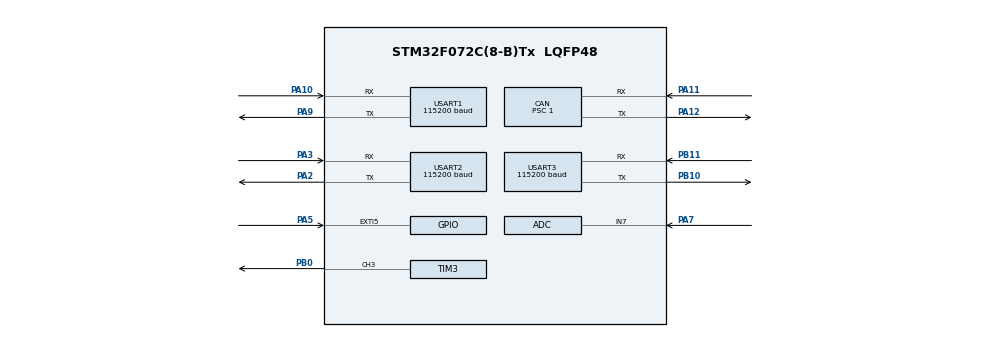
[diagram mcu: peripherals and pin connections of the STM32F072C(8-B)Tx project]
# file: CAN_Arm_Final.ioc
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CAN.BS1=CAN_BS1_13TQ
CAN.BS2=CAN_BS2_2TQ
CAN.CalculateBaudRate=500000
CAN.CalculateTimeBit=2000
CAN.CalculateTimeQuantum=125.0
CAN.Prescaler=1
Dma.Request0=USART1_TX
Dma.Request1=USART1_RX
Dma.Request2=USART2_RX
Dma.Request3=USART2_TX
Dma.Request4=USART3_TX
Dma.Request5=USART3_RX
Dma.USART1_RX.1.Direction=DMA_PERIPH_TO_MEMORY
Dma.USART1_RX.1.Instance=DMA1_Channel3
Dma.USART1_RX.1.MemDataAlignment=DMA_MDATAALIGN_BYTE
Dma.USART1_RX.1.MemInc=DMA_MINC_ENABLE
Dma.USART1_RX.1.Mode=DMA_NORMAL
Dma.USART1_RX.1.PeriphDataAlignment=DMA_PDATAALIGN_BYTE
Dma.USART1_RX.1.PeriphInc=DMA_PINC_DISABLE
Dma.USART1_RX.1.Priority=DMA_PRIORITY_LOW
Dma.USART1_TX.0.Direction=DMA_MEMORY_TO_PERIPH
Dma.USART1_TX.0.Instance=DMA1_Channel2
Dma.USART1_TX.0.MemDataAlignment=DMA_MDATAALIGN_BYTE
Dma.USART1_TX.0.MemInc=DMA_MINC_ENABLE
Dma.USART1_TX.0.Mode=DMA_NORMAL
Dma.USART1_TX.0.PeriphDataAlignment=DMA_PDATAALIGN_BYTE
Dma.USART1_TX.0.PeriphInc=DMA_PINC_DISABLE
Dma.USART1_TX.0.Priority=DMA_PRIORITY_LOW
Dma.USART2_RX.2.Direction=DMA_PERIPH_TO_MEMORY
Dma.USART2_RX.2.Instance=DMA1_Channel5
Dma.USART2_RX.2.MemDataAlignment=DMA_MDATAALIGN_BYTE
Dma.USART2_RX.2.MemInc=DMA_MINC_ENABLE
Dma.USART2_RX.2.Mode=DMA_NORMAL
Dma.USART2_RX.2.PeriphDataAlignment=DMA_PDATAALIGN_BYTE
Dma.USART2_RX.2.PeriphInc=DMA_PINC_DISABLE
Dma.USART2_RX.2.Priority=DMA_PRIORITY_LOW
Dma.USART2_TX.3.Direction=DMA_MEMORY_TO_PERIPH
Dma.USART2_TX.3.Instance=DMA1_Channel4
Dma.USART2_TX.3.MemDataAlignment=DMA_MDATAALIGN_BYTE
Dma.USART2_TX.3.MemInc=DMA_MINC_ENABLE
Dma.USART2_TX.3.Mode=DMA_NORMAL
Dma.USART2_TX.3.PeriphDataAlignment=DMA_PDATAALIGN_BYTE
Dma.USART2_TX.3.PeriphInc=DMA_PINC_DISABLE
Dma.USART2_TX.3.Priority=DMA_PRIORITY_LOW
Dma.USART3_RX.5.Direction=DMA_PERIPH_TO_MEMORY
Dma.USART3_RX.5.Instance=DMA1_Channel6
Dma.USART3_RX.5.MemDataAlignment=DMA_MDATAALIGN_BYTE
Dma.USART3_RX.5.MemInc=DMA_MINC_ENABLE
Dma.USART3_RX.5.Mode=DMA_NORMAL
Dma.USART3_RX.5.PeriphDataAlignment=DMA_PDATAALIGN_BYTE
Dma.USART3_RX.5.PeriphInc=DMA_PINC_DISABLE
Dma.USART3_RX.5.Priority=DMA_PRIORITY_LOW
Dma.USART3_TX.4.Direction=DMA_MEMORY_TO_PERIPH
Dma.USART3_TX.4.Instance=DMA1_Channel7
Dma.USART3_TX.4.MemDataAlignment=DMA_MDATAALIGN_BYTE
Dma.USART3_TX.4.MemInc=DMA_MINC_ENABLE
Dma.USART3_TX.4.Mode=DMA_NORMAL
Dma.USART3_TX.4.PeriphDataAlignment=DMA_PDATAALIGN_BYTE
Dma.USART3_TX.4.PeriphInc=DMA_PINC_DISABLE
Dma.USART3_TX.4.Priority=DMA_PRIORITY_LOW
Mcu.Family=STM32F0
Mcu.Name=STM32F072C(8-B)Tx
Mcu.Package=LQFP48
NVIC.CEC_CAN_IRQn=true\:0\:0\:false\:false\:true\:true\:true\:true
NVIC.DMA1_Channel2_3_IRQn=true\:0\:0\:false\:false\:true\:false\:true\:true
NVIC.DMA1_Channel4_5_6_7_IRQn=true\:0\:0\:false\:false\:true\:false\:true\:true
NVIC.USART1_IRQn=true\:0\:0\:false\:false\:true\:true\:true\:true
NVIC.USART2_IRQn=true\:0\:0\:false\:false\:true\:true\:true\:true
NVIC.USART3_4_IRQn=true\:0\:0\:false\:false\:true\:true\:true\:true
PA10.Mode=Asynchronous
PA10.Signal=USART1_RX
PA11.Mode=CAN_Activate
PA11.Signal=CAN_RX
PA12.Mode=CAN_Activate
PA12.Signal=CAN_TX
PA13.Mode=Serial_Wire
PA13.Signal=SYS_SWDIO
PA14.Mode=Serial_Wire
PA14.Signal=SYS_SWCLK
PA2.Mode=Asynchronous
PA2.Signal=USART2_TX
PA3.Mode=Asynchronous
PA3.Signal=USART2_RX
PA5.GPIO_ModeDefaultEXTI=GPIO_MODE_IT_FALLING
PA5.GPIO_PuPd=GPIO_PULLUP
PA5.Signal=GPXTI5
PA7.Mode=IN7
PA7.Signal=ADC_IN7
PA9.Mode=Asynchronous
PA9.Signal=USART1_TX
PB0.Signal=S_TIM3_CH3
PB10.Mode=Asynchronous
PB10.Signal=USART3_TX
PB11.Mode=Asynchronous
PB11.Signal=USART3_RX
PF0-OSC_IN.Mode=HSE-External-Oscillator
PF0-OSC_IN.Signal=RCC_OSC_IN
PF1-OSC_OUT.Mode=HSE-External-Oscillator
PF1-OSC_OUT.Signal=RCC_OSC_OUT
ProjectManager.HeapSize=0x200
ProjectManager.StackSize=0x400
ProjectManager.TargetToolchain=STM32CubeIDE
SH.S_TIM3_CH3.0=TIM3_CH3,PWM Generation3 CH3
TIM3.Channel-PWM\ Generation3\ CH3=TIM_CHANNEL_3
TIM3.Period=9999
TIM3.Prescaler=15
USART1.BaudRate=115200
USART1.VirtualMode-Asynchronous=VM_ASYNC
USART2.BaudRate=115200
USART2.VirtualMode-Asynchronous=VM_ASYNC
USART3.BaudRate=115200
USART3.VirtualMode-Asynchronous=VM_ASYNC
board=custom

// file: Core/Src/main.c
/* USER CODE BEGIN Header */
/**
 ******************************************************************************
 * @file           : main.c
 * @brief          : Main program body
 ******************************************************************************
 * @attention
 *
 * Copyright (c) 2025 STMicroelectronics.
 * All rights reserved.
 *
 * This software is licensed under terms that can be found in the LICENSE file
 * in the root directory of this software component.
 * If no LICENSE file comes with this software, it is provided AS-IS.
 *
 ******************************************************************************
 */
/* USER CODE END Header */
#include "main.h"

/* USER CODE BEGIN Includes */
#include "../../roboclaw/roboclaw.h"
//#include "../../pH/pH.h"
#include "string.h"
#include <stdbool.h>
#include <stdio.h>
#include <stdlib.h>
#include <math.h>
/* USER CODE END Includes */

/* USER CODE BEGIN PTD */
volatile uint8_t messageReceived = 0;
CAN_RxHeaderTypeDef rxHeader;
uint8_t rxData[8];

SERIAL_HandleTypeDef *hserial_uart1;
SERIAL_HandleTypeDef *hserial_uart2;
SERIAL_HandleTypeDef *hserial_uart3;
RoboClaw_HandleTypeDef hroboclaw_mc1;
RoboClaw_HandleTypeDef hroboclaw_mc2;
RoboClaw_HandleTypeDef hroboclaw_mc3;
/* USER CODE END PTD */

/* USER CODE BEGIN PD */
#define gear_ratio 188 // change value
#define pulses_per_revolution_gearbox 28 // change value
#define reduction_ratio 188 // change value
#define pi 3.14159265358979
#define angles_id 0x004
#define CAN_ID_ENCODER_FEEDBACK 0x005

/* USER CODE END PD */

/* USER CODE BEGIN PM */
uint32_t accel = 1000;
uint32_t speed = 2000;
uint32_t deccel = 1000;
volatile uint32_t position[5] = { 0, 0, 0, 0, 0 };
uint8_t input_min = 0;
uint8_t input_max = 255;
int32_t output_min = 0;
int32_t output_max = 5290;
int32_t encoder;
uint8_t flag = 0;
uint16_t angle_degree = 0;
uint8_t m1_speed_buffer[2];
uint32_t debug_buff[100];
uint8_t SendMotorRPMs[6];

uint64_t packed = 0;
uint16_t joint[6];
float angle_deg[6];
uint8_t storage1=0,storage2=0;
/* USER CODE END PM */

ADC_HandleTypeDef hadc;

CAN_HandleTypeDef hcan;

TIM_HandleTypeDef htim3;

UART_HandleTypeDef huart1;
UART_HandleTypeDef huart2;
UART_HandleTypeDef huart3;
DMA_HandleTypeDef hdma_usart1_tx;
DMA_HandleTypeDef hdma_usart1_rx;
DMA_HandleTypeDef hdma_usart2_rx;
DMA_HandleTypeDef hdma_usart2_tx;
DMA_HandleTypeDef hdma_usart3_tx;
DMA_HandleTypeDef hdma_usart3_rx;

/* USER CODE BEGIN PV */

volatile bool g_limitSwitchPressed = false; // A global flag

/* USER CODE END PV */

void SystemClock_Config(void);
static void MX_GPIO_Init(void);
static void MX_DMA_Init(void);
static void MX_CAN_Init(void);
static void MX_USART1_UART_Init(void);
static void MX_USART2_UART_Init(void);
static void MX_USART3_UART_Init(void);
static void MX_ADC_Init(void);
static void MX_TIM3_Init(void);
/* USER CODE BEGIN PFP */
void can_irq(CAN_HandleTypeDef *pcan);
HAL_StatusTypeDef can_send(uint32_t id, uint8_t data[], uint8_t length);

/* this function used to map the recieved message from jetson in form of 0:255 to 0:11000 to be suitable for the roboclaw input*/
uint32_t map_value(uint8_t value, uint8_t input_min, uint8_t input_max,
		int32_t output_min, int32_t output_max);

int32_t GoToAngle(float angle, RoboClaw_HandleTypeDef *hroboClaw);

void processArmControlData(uint8_t *data);

void setServoAngle(TIM_HandleTypeDef* htim, uint32_t channel, uint16_t angle);
uint16_t angleToPulseValue(uint16_t angle);

void SendEncoderFeedback(void);

/* USER CODE END PFP */

/* USER CODE BEGIN 0 */
void can_irq(CAN_HandleTypeDef *pcan) {
	/* Simply receive whatever message comes in */
	if (HAL_CAN_GetRxMessage(pcan, CAN_RX_FIFO0, &rxHeader, rxData) == HAL_OK) {
		messageReceived = 1;
		// Check if the message is for Arm Control
//		if (rxHeader.StdId == angles_id) {
//			messageReceived = 1;
//		}
	}
}

HAL_StatusTypeDef can_send(uint32_t id, uint8_t data[], uint8_t length) {
	CAN_TxHeaderTypeDef txHeader;
	uint32_t mailbox;

	/* Configure TX header */
	txHeader.StdId = id;
	txHeader.IDE = CAN_ID_STD;
	txHeader.RTR = CAN_RTR_DATA;
	txHeader.DLC = length;
	txHeader.TransmitGlobalTime = DISABLE;

	/* Check if mailbox is available and send */
	if (HAL_CAN_GetTxMailboxesFreeLevel(&hcan) > 0) {
		return HAL_CAN_AddTxMessage(&hcan, &txHeader, data, &mailbox);
	}
	return HAL_BUSY;
}

/* this function used to map the recieved message from jetson in form of 0:255 to 0:11000 to be suitable for the roboclaw input*/
uint32_t map_value(uint8_t value, uint8_t input_min, uint8_t input_max,
		int32_t output_min, int32_t output_max) {

	// Normalize the input value
	uint32_t normalized_value = (float) (value - input_min)
			/ (input_max - input_min);

	// Map the normalized value to the output range
	uint32_t mapped_value = normalized_value * (output_max - output_min)
			+ output_min;

	return mapped_value;
}

int32_t GoToAngle(float angle, RoboClaw_HandleTypeDef *hroboClaw) {
	uint8_t status;
	bool valid;

	encoder = ReadEncM2(hroboClaw, &status, &valid);
	float no_of_ticks = (angle / 360) * output_max;
	SpeedAccelDeccelPositionM2(hroboClaw, accel, speed, deccel, no_of_ticks,
			flag);

	return ReadEncM2(hroboClaw, &status, &valid);
}

void processArmControlData(uint8_t *data) {
	packed = 0;
	// Combine all 8 bytes into a 64-bit integer

	for (int i = 0; i < 8; i++) {
		packed |= ((uint64_t) data[i]) << (8 * i);
	}

	// Extract each 10-bit joint value
	for (int j = 0; j < 6; j++) {
		joint[j] = (packed >> (j * 10)) & 0x3FF; // 0x3FF = 10-bit mask
		// Now you have joint[0]..joint[5] as raw values (0–1023)
		angle_deg[j] = ((float) joint[j] / 1023.0f) * 360.0f; // Example: map to 0–360°
	}
	storage1 = (packed >> 61) & 0x1 ;
	storage2 = (packed >> 62) & 0x1 ;
	GoToAngle(angle_deg[0],&hroboclaw_mc2);

	return;
}

void SendEncoderFeedback(void) {
//    uint8_t status;
//    bool valid;
//    uint8_t feedback_data[8];

    // Read encoder values
//    int32_t enc0 = ReadEncM1(&hroboclaw_mc2, &status, &valid);//in ticks
//    uint16_t actual_angle0 = ((enc0)/output_max)*360;// in degrees
//    int32_t enc1 = ReadEncM2(&hroboclaw_mc2, &status, &valid);
//    int32_t enc2 = ReadEncM1(&hroboclaw_mc2, &status, &valid);
//    int32_t enc3 = ReadEncM1(&hroboclaw_mc2, &status, &valid);
//    int32_t enc4 = ReadEncM1(&hroboclaw_mc2, &status, &valid);
//    int32_t enc5 = ReadEncM1(&hroboclaw_mc2, &status, &valid);

    // For this example, we'll just pack the first 4.
    // The CAN standard frame only has 8 bytes. You may need multiple CAN messages
    // to send all 6 encoder values if you need full 32-bit resolution.
    // Here, we'll send them as 16-bit values to fit.
//    feedback_data[0] = (enc0 >> 8) & 0xFF; // Joint 0 MSB
//    feedback_data[1] = enc0 & 0xFF;        // Joint 0 LSB
//    feedback_data[2] = (enc1 >> 8) & 0xFF; // Joint 1 MSB
//    feedback_data[3] = enc1 & 0xFF;        // Joint 1 LSB
//    feedback_data[4] = (enc2 >> 8) & 0xFF; // Joint 2 MSB
//    feedback_data[5] = enc2 & 0xFF;        // Joint 2 LSB

//    can_send(CAN_ID_ENCODER_FEEDBACK, feedback_data, 8);
}

/**
 * @brief  Maps a desired angle (0-180) to the corresponding PWM pulse count.
 * @param  angle The desired angle in degrees (0 to 180).
 * @retval The calculated pulse value for the timer's compare register.
 */
uint16_t angleToPulseValue(uint16_t angle)
{
    // Clamp the angle to ensure it stays within 0-180 degrees
    if (angle > 180) {
        angle = 180;
    }

    // These values are correct for a 50Hz PWM with a Period of 9999 (10000 total counts)
    // which corresponds to a 20ms period.
    // 0.5ms pulse (0 deg)  -> (0.5ms / 20ms) * 10000 = 250
    // 2.5ms pulse (180 deg) -> (2.5ms / 20ms) * 10000 = 1250
    const uint16_t MIN_PULSE_COUNTS = 250;
    const uint16_t MAX_PULSE_COUNTS = 1250;
    const uint16_t PULSE_RANGE_COUNTS = MAX_PULSE_COUNTS - MIN_PULSE_COUNTS; // 1000 counts

    // Linear mapping formula:
    // pulse_counts = MIN_PULSE_COUNTS + (angle * PULSE_RANGE_COUNTS) / 180
    uint16_t pulse = MIN_PULSE_COUNTS + ((uint32_t)angle * PULSE_RANGE_COUNTS) / 180;

    return pulse;
}

/**
 * @brief  Sets the servo to a specific angle by updating the PWM compare register.
 * @param  htim A pointer to the TIM_HandleTypeDef structure for your timer.
 * @param  channel The timer channel used for the servo (e.g., TIM_CHANNEL_2).
 * @param  angle The desired servo angle in degrees (0 to 180).
 */
void setServoAngle(TIM_HandleTypeDef* htim, uint32_t channel, uint16_t angle)
{
    uint16_t pulse = angleToPulseValue(angle);

    // Update the Capture Compare Register (CCR) for the specified channel.
    __HAL_TIM_SET_COMPARE(htim, channel, pulse);
}

/* USER CODE END 0 */

int main(void)
{

  /* USER CODE BEGIN 1 */
		uint8_t txData[] = "FuckCAN"; // Example data to send
		uint32_t lastSendTime = 0;
  /* USER CODE END 1 */

  /* MCU Configuration--------------------------------------------------------*/

  /* Reset of all peripherals, Initializes the Flash interface and the Systick. */
  HAL_Init();

  /* Configure the system clock */
  SystemClock_Config();

  /* Initialize all configured peripherals */
  MX_GPIO_Init();
  MX_DMA_Init();
  MX_CAN_Init();
  MX_USART1_UART_Init();
  MX_USART2_UART_Init();
  MX_USART3_UART_Init();
  MX_ADC_Init();
  MX_TIM3_Init();
  /* USER CODE BEGIN 2 */
	// MOTOR 1&2 -> ROBOCLAW 1
	hserial_uart1 = serial_init(&huart1);
	hroboclaw_mc1.hserial = hserial_uart1;
	hroboclaw_mc1.packetserial_address = 0x80;

	////MOTOR 3&4 -> ROBOCLAW 2
	hserial_uart2 = serial_init(&huart2);
	hroboclaw_mc2.hserial = hserial_uart2;
	hroboclaw_mc2.packetserial_address = 0x80;
	//
	////MOTOR 5&6 -> ROBOCLAW 3
	hserial_uart3 = serial_init(&huart3);
	hroboclaw_mc3.hserial = hserial_uart3;
	hroboclaw_mc3.packetserial_address = 0x80;

	HAL_GPIO_WritePin(GPIOB, GPIO_PIN_15, GPIO_PIN_SET); // LED off
	//Homing position
	SpeedM1(&hroboclaw_mc2, 12000);	//Start
	//Motor rotates continuously until it hits the limit switch and triggers the interrupt

//  	// Start the PWM signal on TIM2 Channel 2
//    HAL_TIM_PWM_Start(&htim2, TIM_CHANNEL_3);
//
//	// Set initial position to center (90 degrees)
//	setServoAngle(&htim2, TIM_CHANNEL_3, 90);
//	HAL_Delay(1000); // Give servo time to reach initial position

  /* USER CODE END 2 */

  /* Infinite loop */
  /* USER CODE BEGIN WHILE */
	while (1) {
		uint8_t status;
		bool valid;

//		GoToAngle(180, &hroboclaw_mc2);
//		HAL_Delay(1000);
//		GoToAngle(90, &hroboclaw_mc2);
//		HAL_Delay(1000);
//		encoder = ReadEncM1(&hroboclaw_mc2, &status, &valid);
    /* USER CODE END WHILE */

    /* USER CODE BEGIN 3 */
		// CAN message from High level

		if (messageReceived) {
			HAL_GPIO_TogglePin(GPIOB, GPIO_PIN_15);
			messageReceived = 0;		// Clear flag
			processArmControlData(rxData);

		}

		/* Send message every 1000ms */

//		if (HAL_GetTick() - lastS
		/* If message received, toggle LED */

		HAL_Delay(500);
	}
  /* USER CODE END 3 */
}

void SystemClock_Config(void)
{
  RCC_OscInitTypeDef RCC_OscInitStruct = {0};
  RCC_ClkInitTypeDef RCC_ClkInitStruct = {0};
  RCC_PeriphCLKInitTypeDef PeriphClkInit = {0};

  /** Initializes the RCC Oscillators according to the specified parameters
  * in the RCC_OscInitTypeDef structure.
  */
  RCC_OscInitStruct.OscillatorType = RCC_OSCILLATORTYPE_HSI|RCC_OSCILLATORTYPE_HSI14;
  RCC_OscInitStruct.HSIState = RCC_HSI_ON;
  RCC_OscInitStruct.HSI14State = RCC_HSI14_ON;
  RCC_OscInitStruct.HSICalibrationValue = RCC_HSICALIBRATION_DEFAULT;
  RCC_OscInitStruct.HSI14CalibrationValue = 16;
  RCC_OscInitStruct.PLL.PLLState = RCC_PLL_NONE;
  if (HAL_RCC_OscConfig(&RCC_OscInitStruct) != HAL_OK)
  {
    Error_Handler();
  }

  /** Initializes the CPU, AHB and APB buses clocks
  */
  RCC_ClkInitStruct.ClockType = RCC_CLOCKTYPE_HCLK|RCC_CLOCKTYPE_SYSCLK
                              |RCC_CLOCKTYPE_PCLK1;
  RCC_ClkInitStruct.SYSCLKSource = RCC_SYSCLKSOURCE_HSI;
  RCC_ClkInitStruct.AHBCLKDivider = RCC_SYSCLK_DIV1;
  RCC_ClkInitStruct.APB1CLKDivider = RCC_HCLK_DIV1;

  if (HAL_RCC_ClockConfig(&RCC_ClkInitStruct, FLASH_LATENCY_0) != HAL_OK)
  {
    Error_Handler();
  }
  PeriphClkInit.PeriphClockSelection = RCC_PERIPHCLK_USART1|RCC_PERIPHCLK_USART2;
  PeriphClkInit.Usart1ClockSelection = RCC_USART1CLKSOURCE_PCLK1;
  PeriphClkInit.Usart2ClockSelection = RCC_USART2CLKSOURCE_PCLK1;
  if (HAL_RCCEx_PeriphCLKConfig(&PeriphClkInit) != HAL_OK)
  {
    Error_Handler();
  }
}

static void MX_ADC_Init(void)
{

  ADC_ChannelConfTypeDef sConfig = {0};

  /** Configure the global features of the ADC (Clock, Resolution, Data Alignment and number of conversion)
  */
  hadc.Instance = ADC1;
  hadc.Init.ClockPrescaler = ADC_CLOCK_ASYNC_DIV1;
  hadc.Init.Resolution = ADC_RESOLUTION_12B;
  hadc.Init.DataAlign = ADC_DATAALIGN_RIGHT;
  hadc.Init.ScanConvMode = ADC_SCAN_DIRECTION_FORWARD;
  hadc.Init.EOCSelection = ADC_EOC_SINGLE_CONV;
  hadc.Init.LowPowerAutoWait = DISABLE;
  hadc.Init.LowPowerAutoPowerOff = DISABLE;
  hadc.Init.ContinuousConvMode = DISABLE;
  hadc.Init.DiscontinuousConvMode = DISABLE;
  hadc.Init.ExternalTrigConv = ADC_SOFTWARE_START;
  hadc.Init.ExternalTrigConvEdge = ADC_EXTERNALTRIGCONVEDGE_NONE;
  hadc.Init.DMAContinuousRequests = DISABLE;
  hadc.Init.Overrun = ADC_OVR_DATA_PRESERVED;
  if (HAL_ADC_Init(&hadc) != HAL_OK)
  {
    Error_Handler();
  }

  /** Configure for the selected ADC regular channel to be converted.
  */
  sConfig.Channel = ADC_CHANNEL_7;
  sConfig.Rank = ADC_RANK_CHANNEL_NUMBER;
  sConfig.SamplingTime = ADC_SAMPLETIME_1CYCLE_5;
  if (HAL_ADC_ConfigChannel(&hadc, &sConfig) != HAL_OK)
  {
    Error_Handler();
  }

}

static void MX_CAN_Init(void)
{

  hcan.Instance = CAN;
  hcan.Init.Prescaler = 1;
  hcan.Init.Mode = CAN_MODE_NORMAL;
  hcan.Init.SyncJumpWidth = CAN_SJW_1TQ;
  hcan.Init.TimeSeg1 = CAN_BS1_13TQ;
  hcan.Init.TimeSeg2 = CAN_BS2_2TQ;
  hcan.Init.TimeTriggeredMode = DISABLE;
  hcan.Init.AutoBusOff = DISABLE;
  hcan.Init.AutoWakeUp = DISABLE;
  hcan.Init.AutoRetransmission = DISABLE;
  hcan.Init.ReceiveFifoLocked = DISABLE;
  hcan.Init.TransmitFifoPriority = DISABLE;
  if (HAL_CAN_Init(&hcan) != HAL_OK)
  {
    Error_Handler();
  }
  /* USER CODE BEGIN CAN_Init 2 */
	CAN_FilterTypeDef sf;
	sf.FilterMaskIdHigh = 0x0000;
	sf.FilterMaskIdLow = 0x0000;
	sf.FilterFIFOAssignment = CAN_FILTER_FIFO0;
	sf.FilterBank = 0;
	sf.FilterMode = CAN_FILTERMODE_IDMASK;
	sf.FilterScale = CAN_FILTERSCALE_32BIT;
	sf.FilterActivation = CAN_FILTER_ENABLE;
	if (HAL_CAN_ConfigFilter(&hcan, &sf) != HAL_OK) {
		Error_Handler();
	}

	if (HAL_CAN_RegisterCallback(&hcan, HAL_CAN_RX_FIFO0_MSG_PENDING_CB_ID,
			can_irq) != HAL_OK) {
		Error_Handler();
	}

	if (HAL_CAN_Start(&hcan) != HAL_OK) {
		Error_Handler();
	}

	if (HAL_CAN_ActivateNotification(&hcan, CAN_IT_RX_FIFO0_MSG_PENDING)
			!= HAL_OK) {
		Error_Handler();
	}

	/* Enable interrupts for CAN: FIFO0 message pending, transmit mailbox empty, error */
	__HAL_CAN_ENABLE_IT(&hcan, CAN_IT_RX_FIFO0_MSG_PENDING | // RX FIFO0 message
			CAN_IT_TX_MAILBOX_EMPTY |// Transmit mailbox empty
			CAN_IT_ERROR_WARNING |// Error warning
			CAN_IT_ERROR_PASSIVE |// Error passive
			CAN_IT_BUSOFF |// Bus-off
			CAN_IT_LAST_ERROR_CODE |// Last error code
			CAN_IT_ERROR);// General error

	/* Configure NVIC for CAN interrupts */
	HAL_NVIC_SetPriority(CEC_CAN_IRQn, 0, 0);
	HAL_NVIC_EnableIRQ(CEC_CAN_IRQn);
  /* USER CODE END CAN_Init 2 */

}

static void MX_TIM3_Init(void)
{

  TIM_MasterConfigTypeDef sMasterConfig = {0};
  TIM_OC_InitTypeDef sConfigOC = {0};

  htim3.Instance = TIM3;
  htim3.Init.Prescaler = 15;
  htim3.Init.CounterMode = TIM_COUNTERMODE_UP;
  htim3.Init.Period = 9999;
  htim3.Init.ClockDivision = TIM_CLOCKDIVISION_DIV1;
  htim3.Init.AutoReloadPreload = TIM_AUTORELOAD_PRELOAD_DISABLE;
  if (HAL_TIM_PWM_Init(&htim3) != HAL_OK)
  {
    Error_Handler();
  }
  sMasterConfig.MasterOutputTrigger = TIM_TRGO_RESET;
  sMasterConfig.MasterSlaveMode = TIM_MASTERSLAVEMODE_DISABLE;
  if (HAL_TIMEx_MasterConfigSynchronization(&htim3, &sMasterConfig) != HAL_OK)
  {
    Error_Handler();
  }
  sConfigOC.OCMode = TIM_OCMODE_PWM1;
  sConfigOC.Pulse = 0;
  sConfigOC.OCPolarity = TIM_OCPOLARITY_HIGH;
  sConfigOC.OCFastMode = TIM_OCFAST_DISABLE;
  if (HAL_TIM_PWM_ConfigChannel(&htim3, &sConfigOC, TIM_CHANNEL_3) != HAL_OK)
  {
    Error_Handler();
  }
  HAL_TIM_MspPostInit(&htim3);

}

static void MX_USART1_UART_Init(void)
{

  huart1.Instance = USART1;
  huart1.Init.BaudRate = 115200;
  huart1.Init.WordLength = UART_WORDLENGTH_8B;
  huart1.Init.StopBits = UART_STOPBITS_1;
  huart1.Init.Parity = UART_PARITY_NONE;
  huart1.Init.Mode = UART_MODE_TX_RX;
  huart1.Init.HwFlowCtl = UART_HWCONTROL_NONE;
  huart1.Init.OverSampling = UART_OVERSAMPLING_16;
  huart1.Init.OneBitSampling = UART_ONE_BIT_SAMPLE_DISABLE;
  huart1.AdvancedInit.AdvFeatureInit = UART_ADVFEATURE_NO_INIT;
  if (HAL_UART_Init(&huart1) != HAL_OK)
  {
    Error_Handler();
  }

}

static void MX_USART2_UART_Init(void)
{

  huart2.Instance = USART2;
  huart2.Init.BaudRate = 115200;
  huart2.Init.WordLength = UART_WORDLENGTH_8B;
  huart2.Init.StopBits = UART_STOPBITS_1;
  huart2.Init.Parity = UART_PARITY_NONE;
  huart2.Init.Mode = UART_MODE_TX_RX;
  huart2.Init.HwFlowCtl = UART_HWCONTROL_NONE;
  huart2.Init.OverSampling = UART_OVERSAMPLING_16;
  huart2.Init.OneBitSampling = UART_ONE_BIT_SAMPLE_DISABLE;
  huart2.AdvancedInit.AdvFeatureInit = UART_ADVFEATURE_NO_INIT;
  if (HAL_UART_Init(&huart2) != HAL_OK)
  {
    Error_Handler();
  }

}

static void MX_USART3_UART_Init(void)
{

  huart3.Instance = USART3;
  huart3.Init.BaudRate = 115200;
  huart3.Init.WordLength = UART_WORDLENGTH_8B;
  huart3.Init.StopBits = UART_STOPBITS_1;
  huart3.Init.Parity = UART_PARITY_NONE;
  huart3.Init.Mode = UART_MODE_TX_RX;
  huart3.Init.HwFlowCtl = UART_HWCONTROL_NONE;
  huart3.Init.OverSampling = UART_OVERSAMPLING_16;
  huart3.Init.OneBitSampling = UART_ONE_BIT_SAMPLE_DISABLE;
  huart3.AdvancedInit.AdvFeatureInit = UART_ADVFEATURE_NO_INIT;
  if (HAL_UART_Init(&huart3) != HAL_OK)
  {
    Error_Handler();
  }

}

static void MX_DMA_Init(void)
{

  /* DMA controller clock enable */
  __HAL_RCC_DMA1_CLK_ENABLE();

  /* DMA interrupt init */
  /* DMA1_Channel2_3_IRQn interrupt configuration */
  HAL_NVIC_SetPriority(DMA1_Channel2_3_IRQn, 0, 0);
  HAL_NVIC_EnableIRQ(DMA1_Channel2_3_IRQn);
  /* DMA1_Channel4_5_6_7_IRQn interrupt configuration */
  HAL_NVIC_SetPriority(DMA1_Channel4_5_6_7_IRQn, 0, 0);
  HAL_NVIC_EnableIRQ(DMA1_Channel4_5_6_7_IRQn);

}

static void MX_GPIO_Init(void)
{
  GPIO_InitTypeDef GPIO_InitStruct = {0};

  /* GPIO Ports Clock Enable */
  __HAL_RCC_GPIOF_CLK_ENABLE();
  __HAL_RCC_GPIOA_CLK_ENABLE();
  __HAL_RCC_GPIOB_CLK_ENABLE();

  /*Configure GPIO pin : PA5 */
  GPIO_InitStruct.Pin = GPIO_PIN_5;
  GPIO_InitStruct.Mode = GPIO_MODE_IT_FALLING;
  GPIO_InitStruct.Pull = GPIO_PULLUP;
  HAL_GPIO_Init(GPIOA, &GPIO_InitStruct);

}

/* USER CODE BEGIN 4 */

void HAL_GPIO_EXTI_Callback(uint16_t GPIO_Pin) {
	if (GPIO_Pin == GPIO_PIN_5) {
		// The limit switch interrupt was triggered!
		// Set a flag. Keep the ISR (Interrupt Service Routine) short and fast.
		g_limitSwitchPressed = true;
	}
}

void HomingSequence_IT(RoboClaw_HandleTypeDef *hroboClaw) {
	uint8_t status;
	bool valid;
	// Reset the flag and start moving towards the switch
	g_limitSwitchPressed = false;
//    ForwardM1(hroboClaw, 20); // Adjust direction/speed as needed
	HAL_GPIO_TogglePin(GPIOB, GPIO_PIN_15);

	// Wait for the flag to be set by the interrupt
	while (!g_limitSwitchPressed) {
		HAL_Delay(5);
	}

	// --- Switch has been triggered! ---
	ForwardM2(hroboClaw, 0); // Stop motor
	HAL_Delay(50);
	ResetEncoders(hroboClaw);
	HAL_Delay(50);

	// Optionally move off the switch
	GoToAngle(2, hroboClaw);
	HAL_Delay(500);
	encoder = ReadEncM2(hroboClaw, &status, &valid);

}
/* USER CODE END 4 */

void Error_Handler(void)
{
	__disable_irq();
	while (1) {
	}
}
